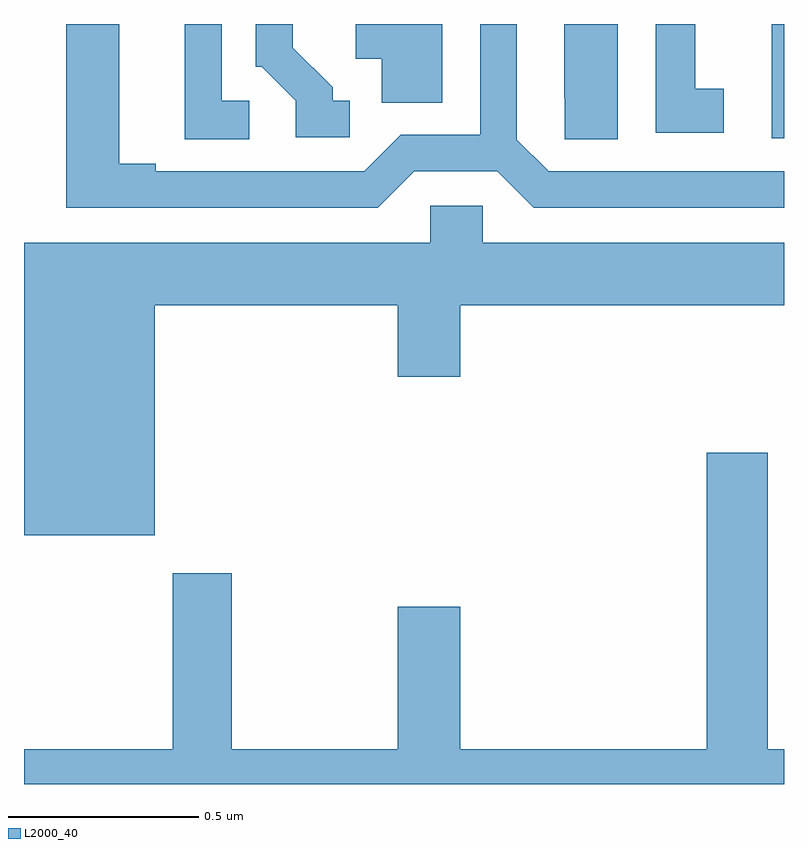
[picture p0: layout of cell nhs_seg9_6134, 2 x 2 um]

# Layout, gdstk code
import gdstk
lib = gdstk.Library(unit=1e-6, precision=1e-09)
def R(c, l, rs):  # rectangles x0, y0, x1, y1
    for r in rs: c.add(gdstk.rectangle(r[:2], r[2:], *l))
def P(c, l, *ps):  # polygons
    for p in ps: c.add(gdstk.Polygon(p, *l))
L2000_40 = (2000, 40)

nhs_seg9_6134 = lib.new_cell('nhs_seg9_6134')
R(nhs_seg9_6134, L2000_40, [(189.968,1190.199,190,1190.5)])
P(nhs_seg9_6134, L2000_40, [(189.562,1190.5),(189.422,1190.5),(189.422,1190.305),(189.423,1190.305),(189.423,1190.197),(189.562,1190.197)],
  [(188.857,1190.298),(188.812,1190.298),(188.812,1190.333),(188.707,1190.438),(188.707,1190.5),(188.61,1190.5),(188.61,1190.388),(188.625,1190.388),(188.715,1190.298),(188.715,1190.202),(188.857,1190.202)],
  [(189.841,1190.33),(189.766,1190.33),(189.766,1190.5),(189.662,1190.5),(189.662,1190.214),(189.841,1190.214)],
  [(188.593,1190.298),(188.52,1190.298),(188.52,1190.5),(188.423,1190.5),(188.423,1190.197),(188.593,1190.197)],
  [(189.027,1190.112),(189.245,1190.112),(189.341,1190.016),(190,1190.016),(190,1190.112),(189.381,1190.112),(189.297,1190.196),(189.297,1190.5),(189.201,1190.5),(189.201,1190.208),(188.991,1190.208),(188.895,1190.112),(188.347,1190.112),(188.347,1190.132),(188.251,1190.132),(188.251,1190.5),(188.111,1190.5),(188.111,1190.016),(188.931,1190.016)],
  [(189.1,1190.5),(188.873,1190.5),(188.873,1190.408),(188.942,1190.408),(188.942,1190.293),(189.1,1190.293)],
  [(188.344,1189.76),(188.984,1189.76),(188.984,1189.572),(189.148,1189.572),(189.148,1189.76),(190,1189.76),(190,1189.924),(189.207,1189.924),(189.207,1190.022),(189.069,1190.022),(189.069,1189.924),(188,1189.924),(188,1189.154),(188.344,1189.154)],
  [(190,1188.592),(189.957,1188.592),(189.957,1189.372),(189.797,1189.372),(189.797,1188.592),(189.148,1188.592),(189.148,1188.967),(188.984,1188.967),(188.984,1188.592),(188.547,1188.592),(188.547,1189.054),(188.392,1189.054),(188.392,1188.592),(188,1188.592),(188,1188.5),(190,1188.5)])

lib.write_gds('nhs_seg9_6134.gds')
